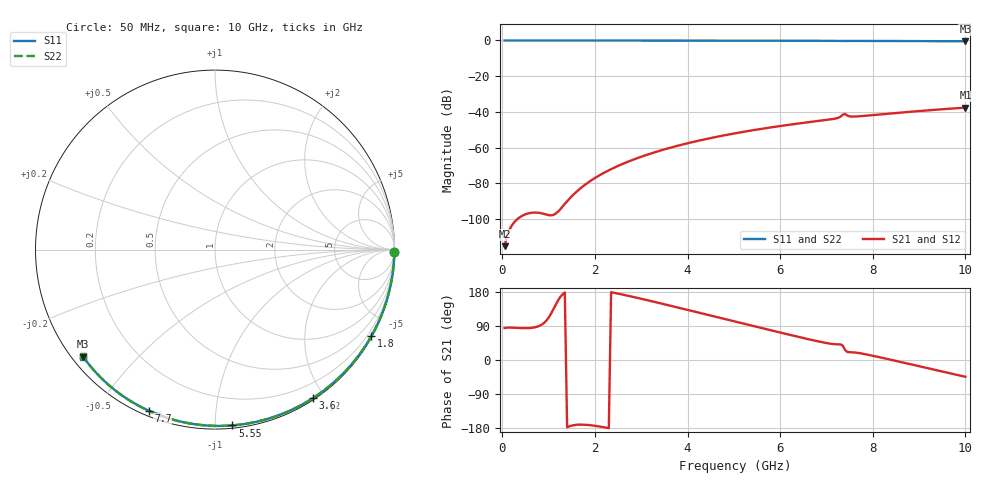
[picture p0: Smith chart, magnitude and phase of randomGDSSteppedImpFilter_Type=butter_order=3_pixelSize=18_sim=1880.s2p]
! freq	dB(S11)	phase(S11)	dB(S12)	phase(S12)
!  dB(S21)	phase(S21)	dB(S22)	phase(S22)
!S-par simulation data
#  GHz  S  DB  R 50
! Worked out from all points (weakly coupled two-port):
!   200 points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, 50 MHz to 10 GHz, reference 50 ohm
!   highest |S21| = -37.59 dB at 10 GHz (marker M1); lowest = -115.2 dB at 50 MHz (marker M2)
!   lowest |S11| = -0.5 dB at 10 GHz (marker M3), VSWR 36.37, Z = 1.55 - j17.7 ohm
!   |S11| at or under -10 dB: nowhere
!   |S22| runs from -0.5 to 0.0 dB; largest |S21 - S12| = 0
!   S11 on the Smith chart (normalised r, x): 50 MHz: open; 1.8 GHz: 0.03, -3.86; 3.6 GHz: 0.02, -1.86; 5.55 GHz: 0.02, -1.10; 7.7 GHz: 0.02, -0.67; 10 GHz: 0.03, -0.35
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0.05  -0.01 -0.8  -115.16 84.2  -115.16 84.2  -0.01 -0.8
0.9  -0.02 -14.6  -97.11 97.6  -97.11 97.6  -0.02 -14.6
1.75  -0.04 -28.2  -81.49 -170.7  -81.49 -170.7  -0.04 -28.2
1.8  -0.04 -29.0  -80.51 -171.0  -80.51 -171.0  -0.04 -29.0
1.85  -0.04 -29.8  -79.58 -171.5  -79.58 -171.5  -0.04 -29.8
2.2  -0.05 -35.3  -74.04 -177.6  -74.04 -177.6  -0.05 -35.3
2.55  -0.05 -40.7  -69.64 173.9  -69.64 173.9  -0.05 -40.8
2.95  -0.06 -46.9  -65.56 163.0  -65.56 163.0  -0.06 -46.9
3.4  -0.07 -53.7  -61.74 150.0  -61.74 150.0  -0.07 -53.7
3.6  -0.08 -56.6  -60.25 144.1  -60.25 144.1  -0.08 -56.6
4.3  -0.09 -66.9  -55.76 123.2  -55.76 123.2  -0.09 -66.9
5.05  -0.12 -77.5  -51.87 100.7  -51.87 100.7  -0.12 -77.5
5.55  -0.14 -84.4  -49.67 85.8  -49.67 85.8  -0.14 -84.4
6.7  -0.19 -99.7  -45.47 52.5  -45.47 52.5  -0.19 -99.7
7.2  -0.22 -106.3  -43.70 41.4  -43.70 41.4  -0.22 -106.2
7.3  -0.25 -107.7  -42.73 41.3  -42.73 41.3  -0.23 -107.5
7.35  -0.29 -108.3  -41.58 38.3  -41.58 38.3  -0.23 -108.1
7.4  -0.30 -108.6  -41.14 26.6  -41.14 26.6  -0.23 -108.7
7.5  -0.26 -109.8  -42.50 20.7  -42.50 20.7  -0.24 -110.0
7.7  -0.26 -112.4  -42.46 18.4  -42.46 18.4  -0.26 -112.5
8.35  -0.31 -120.6  -40.95 1.7  -40.95 1.7  -0.31 -120.7
10  -0.48 -141.0  -37.59 -44.3  -37.59 -44.3  -0.48 -141.0
